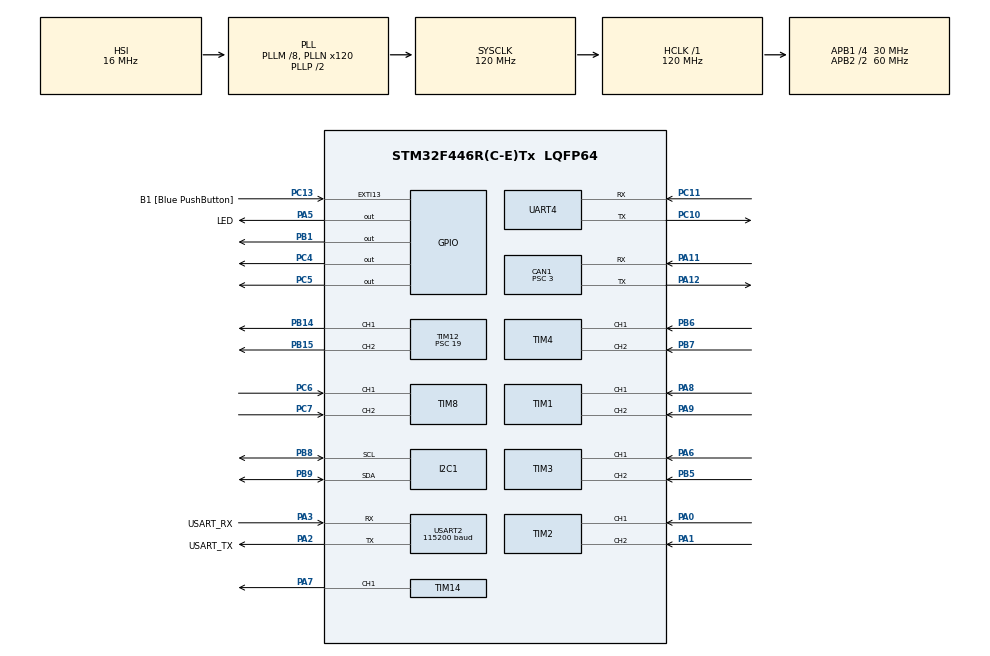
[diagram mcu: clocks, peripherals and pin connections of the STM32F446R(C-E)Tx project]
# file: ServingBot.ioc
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Mcu.Family=STM32F4
NVIC.CAN1_RX1_IRQn=true\:0\:0\:false\:false\:true\:true\:true
PH0-OSC_IN.Signal=RCC_OSC_IN
RCC.CortexFreq_Value=120000000
NVIC.TIM6_DAC_IRQn=true\:0\:0\:false\:false\:true\:true\:true
Dma.USART2_TX.1.MemInc=DMA_MINC_ENABLE
TIM12.Channel-PWM\ Generation2\ CH2=TIM_CHANNEL_2
PC10.Signal=UART4_TX
PA14.GPIO_Label=TCK
TIM4.EncoderMode=TIM_ENCODERMODE_TI12
USART2.Parity=PARITY_NONE
TIM3.EncoderMode=TIM_ENCODERMODE_TI12
TIM1.EncoderMode=TIM_ENCODERMODE_TI12
TIM8.EncoderMode=TIM_ENCODERMODE_TI12
PA11.Mode=CAN_Activate
PC13.GPIO_Label=B1 [Blue PushButton]
PB15.Signal=S_TIM12_CH2
RCC.SYSCLKSource=RCC_SYSCLKSOURCE_PLLCLK
ProjectManager.StackSize=0x400
PA12.Signal=CAN1_TX
Dma.USART2_RX.0.Priority=DMA_PRIORITY_LOW
NVIC.CAN1_TX_IRQn=true\:0\:0\:false\:false\:true\:true\:true
SH.S_TIM14_CH1.0=TIM14_CH1,PWM Generation1 CH1
Dma.USART2_RX.0.PeriphDataAlignment=DMA_PDATAALIGN_BYTE
RCC.HCLKFreq_Value=120000000
RCC.APB2TimFreq_Value=120000000
PB6.Signal=S_TIM4_CH1
PC7.Signal=S_TIM8_CH2
Dma.USART2_TX.1.Mode=DMA_CIRCULAR
RCC.AHBFreq_Value=120000000
PH0-OSC_IN.Mode=HSE-External-Oscillator
RCC.HSE_VALUE=8000000
TIM14.Period=59999
TIM12.Period=59999
Dma.USART2_RX.0.MemDataAlignment=DMA_MDATAALIGN_BYTE
PC14-OSC32_IN.Mode=LSE-External-Oscillator
SH.S_TIM12_CH1.0=TIM12_CH1,PWM Generation1 CH1
PA14.Mode=Serial_Wire
Dma.USART2_TX.1.Instance=DMA1_Stream6
Dma.USART2_RX.0.Instance=DMA1_Stream5
SH.S_TIM4_CH2.0=TIM4_CH2,Encoder_Interface
PB7.Signal=S_TIM4_CH2
PA8.Signal=S_TIM1_CH1
SH.S_TIM3_CH1.0=TIM3_CH1,Encoder_Interface
TIM6.Period=999
RCC.FLatency-AdvancedSettings=FLASH_LATENCY_3
PH1-OSC_OUT.Mode=HSE-External-Oscillator
CAN1.Prescaler=3
Mcu.Package=LQFP64
PB9.Signal=I2C1_SDA
PA6.Signal=S_TIM3_CH1
PB1.Signal=GPIO_Output
Dma.USART2_RX.0.PeriphInc=DMA_PINC_DISABLE
USART2.VirtualMode=VM_ASYNC
Dma.USART2_RX.0.FIFOMode=DMA_FIFOMODE_DISABLE
PA2.GPIO_Label=USART_TX
PC11.Mode=Asynchronous
SH.S_TIM12_CH2.0=TIM12_CH2,PWM Generation2 CH2
RCC.APB2CLKDivider=RCC_HCLK_DIV2
SH.S_TIM4_CH1.0=TIM4_CH1,Encoder_Interface
Dma.Request1=USART2_TX
RCC.APB1TimFreq_Value=60000000
PC5.Signal=GPIO_Output
VP_TIM14_VS_ClockSourceINT.Mode=Enable_Timer
Dma.Request0=USART2_RX
NVIC.DMA1_Stream6_IRQn=true\:0\:0\:false\:false\:true\:false\:true
CAN1.CalculateTimeBit=1000.00
PA3.Signal=USART2_RX
CAN1.CalculateTimeQuantum=100.0
NVIC.UART4_IRQn=true\:0\:0\:false\:false\:true\:true\:true
PB3.GPIO_Label=SWO
PC15-OSC32_OUT.Mode=LSE-External-Oscillator
Dma.USART2_TX.1.Priority=DMA_PRIORITY_LOW
Dma.USART2_TX.1.FIFOMode=DMA_FIFOMODE_DISABLE
PC13.Signal=GPXTI13
PC11.Signal=UART4_RX
CAN1.CalculateBaudRate=1000000
TIM6.Prescaler=11999
PC4.Signal=GPIO_Output
PC6.Signal=S_TIM8_CH1
PC10.Mode=Asynchronous
VP_TIM6_VS_ClockSourceINT.Mode=Enable_Timer
Dma.USART2_RX.0.Direction=DMA_PERIPH_TO_MEMORY
RCC.APB1CLKDivider=RCC_HCLK_DIV4
UART4.VirtualMode=Asynchronous
PC14-OSC32_IN.Signal=RCC_OSC32_IN
Dma.USART2_TX.1.PeriphDataAlignment=DMA_PDATAALIGN_BYTE
NVIC.USART2_IRQn=true\:0\:0\:false\:false\:true\:true\:true
USART2.BaudRate=115200
SH.S_TIM8_CH2.0=TIM8_CH2,Encoder_Interface
PA0-WKUP.Signal=S_TIM2_CH1_ETR
Dma.USART2_RX.0.Mode=DMA_CIRCULAR
PA3.Mode=Asynchronous
PA13.Signal=SYS_JTMS-SWDIO
SH.S_TIM2_CH2.0=TIM2_CH2,Encoder_Interface
SH.S_TIM1_CH1.0=TIM1_CH1,Encoder_Interface
CAN1.BS2=CAN_BS2_2TQ
CAN1.BS1=CAN_BS1_7TQ
ProjectManager.TargetToolchain=STM32CubeIDE
NVIC.DMA1_Stream5_IRQn=true\:0\:0\:false\:false\:true\:false\:true
PB9.Mode=I2C
PA9.Signal=S_TIM1_CH2
RCC.USBFreq_Value=120000000
PC15-OSC32_OUT.Signal=RCC_OSC32_OUT
PA1.Signal=S_TIM2_CH2
TIM12.Prescaler=19
PB14.Signal=S_TIM12_CH1
PA5.Signal=GPIO_Output
SH.S_TIM3_CH2.0=TIM3_CH2,Encoder_Interface
SH.S_TIM8_CH1.0=TIM8_CH1,Encoder_Interface
Dma.USART2_TX.1.PeriphInc=DMA_PINC_DISABLE
board=NUCLEO-F446RE
RCC.VCOOutputFreq_Value=240000000
Dma.USART2_TX.1.Direction=DMA_MEMORY_TO_PERIPH
TIM12.Channel-PWM\ Generation1\ CH1=TIM_CHANNEL_1
RCC.APB2Freq_Value=60000000
TIM14.Channel=TIM_CHANNEL_1
SH.S_TIM1_CH2.0=TIM1_CH2,Encoder_Interface
PH1-OSC_OUT.Signal=RCC_OSC_OUT
PA13.Mode=Serial_Wire
Mcu.Name=STM32F446R(C-E)Tx
Dma.USART2_RX.0.MemInc=DMA_MINC_ENABLE
TIM14.Prescaler=19
PA2.Signal=USART2_TX
PA13.GPIO_Label=TMS
RCC.48MHZClocksFreq_Value=84000000
PB3.Signal=SYS_JTDO-SWO
RCC.SYSCLKFreq_VALUE=120000000
PB5.Signal=S_TIM3_CH2
PA12.Mode=CAN_Activate
PA5.GPIO_Label=LED
PC13.GPIO_ModeDefaultEXTI=GPIO_MODE_IT_FALLING
PA11.Signal=CAN1_RX
SH.S_TIM2_CH1_ETR.0=TIM2_CH1,Encoder_Interface
PA14.Signal=SYS_JTCK-SWCLK
ProjectManager.HeapSize=0x200
RCC.HSI_VALUE=16000000
NVIC.PriorityGroup=NVIC_PRIORITYGROUP_0
RCC.PLLM=8
PB8.Mode=I2C
RCC.PLLN=120
PA2.Mode=Asynchronous
PB8.Signal=I2C1_SCL
Dma.USART2_TX.1.MemDataAlignment=DMA_MDATAALIGN_BYTE
RCC.APB1Freq_Value=30000000
NVIC.CAN1_RX0_IRQn=true\:0\:0\:false\:false\:true\:true\:true
PA3.GPIO_Label=USART_RX
PA7.Signal=S_TIM14_CH1

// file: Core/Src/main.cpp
/* USER CODE BEGIN Header */
/**
  ******************************************************************************
  * @file           : main.c
  * @brief          : Main program body
  ******************************************************************************
  * @attention
  *
  * <h2><center>&copy; Copyright (c) 2021 STMicroelectronics.
  * All rights reserved.</center></h2>
  *
  * This software component is licensed by ST under BSD 3-Clause license,
  * the "License"; You may not use this file except in compliance with the
  * License. You may obtain a copy of the License at:
  *                        opensource.org/licenses/BSD-3-Clause
  *
  ******************************************************************************
  */
/* USER CODE END Header */
#include "main.h"
#include "can.h"
#include "dma.h"
#include "i2c.h"
#include "tim.h"
#include "usart.h"
#include "gpio.h"

/* USER CODE BEGIN Includes */
#include "stdbool.h"
#include "Encoder.h"
#include "PID.h"
#include "Serial.h"
#include "CommonMath.h"
#include "stdio.h"
#include "string.h"
#include <math.h>

#include "MotorController.h"

/* USER CODE END Includes */

/* USER CODE BEGIN PD */
// プロトタイプ宣言

// @brief	: 各車輪のデューティ比を設定する
int SetDuty(float p_duty_front, float p_duty_left, float p_duty_right);

// @brief	: 1byteを上位8bitと下位8bitに変換する
void ConvertByte2HighLowBit(int p_byte, int* p_low_bit, int* p_high_bit);
// @brief	: CAN1で送信する
int CAN1Transmit(uint32_t p_target_can_id, uint8_t p_tx_data[8]);

// @brief : CAN通信のフィルタ設定をする
void CAN_FilterInit(void);

/* USER CODE END PD */

/* USER CODE BEGIN PV */
bool g_is_up_control_cycle = false;
char g_received_char;
int k=0;
string uart_str;
//Serial serial;
int indexRead = 0;
// CAN
/*
uint32_t id;
uint32_t dlc;
uint8_t id517_readed_can_data[8];
uint8_t id518_readed_can_data[8];
uint8_t id519_readed_can_data[8];
int cnt = 0;
int id_1_cnt = 0;
int id_2_cnt = 0;
int id_3_cnt = 0;
*/
/* USER CODE END PV */

void SystemClock_Config(void);

int main(void)
{

  /* MCU Configuration--------------------------------------------------------*/

  /* Reset of all peripherals, Initializes the Flash interface and the Systick. */
  HAL_Init();

  /* Configure the system clock */
  SystemClock_Config();

  /* Initialize all configured peripherals */
  MX_GPIO_Init();
  MX_DMA_Init();
  MX_USART2_UART_Init();
  MX_TIM1_Init();
  MX_TIM12_Init();
  MX_TIM6_Init();
  MX_TIM2_Init();
  MX_TIM3_Init();
  MX_I2C1_Init();
  MX_TIM4_Init();
  MX_TIM8_Init();
  MX_UART4_Init();
  MX_TIM14_Init();
  MX_CAN1_Init();
  /* USER CODE BEGIN 2 */

  string  msg;

  // Encoder
  Encoder encoder;
  encoder.SetDriveEncoderPPR(14);
  encoder.SetDriveWheelDiameter(0.08);
  encoder.SetGearRatio(1.0/24.9);

  MotorController motor_controller;

  HAL_Delay(100);

  // シリアル通信
  // DWA受信
  //HAL_UART_Receive_DMA(&huart2,serialData,DATANUM);
  Serial serial;
  // rplidarが遅延するの暫定対策
  int serial_count = 0;

  // CAN
  // CANのフィルタ設定
  CAN_FilterInit();
  HAL_CAN_Start(&hcan1);

  // 割り込み有効
  if (HAL_CAN_ActivateNotification(&hcan1, CAN_IT_RX_FIFO0_MSG_PENDING) != HAL_OK)
  {
    msg = "CAN Setting Error ....... \r\n";
    HAL_UART_Transmit( &huart2, (uint8_t *)msg.c_str(), msg.size(), 0xFFFF);
    Error_Handler();
  }
  //msg = "CAN Setting End\r\n";
  //HAL_UART_Transmit( &huart2, (uint8_t *)msg.c_str(), msg.size(), 0xFFFF);

  // Timer Interrupt
  HAL_TIM_Base_Start_IT(&htim6);

  HAL_UART_Transmit( &huart2, (uint8_t *)"start!\n", 7, 0xFFFF);

  /* USER CODE END 2 */

  /* Infinite loop */
  /* USER CODE BEGIN WHILE */

  // エンコーダの初期値を初期化する
  InitEncoder();

  while (1)
  {
    /* USER CODE END WHILE */

    /* USER CODE BEGIN 3 */
	 // 10ms circle process
    if(g_is_up_control_cycle == true)
    {
      g_is_up_control_cycle = false;

      // < Encoder >
       encoder.Update();

      // 自己位置を取得する
      struct_posture_t pos = encoder.GetPositions();

      // シリアルの速度指令値を取得する
      serial.Update();

      string serial_str;

      // 速度指令値を取得する
      vector<float> target_speed_control_local_values = serial.GetSpeedControlValues(); // ロボット座標系

      //char msgc[50];
      //sprintf(msgc, "%f %f %f \r\n", target_speed_control_local_values[0], accelerated_command_values[0], speed_control_local_values[0]);
      //HAL_UART_Transmit( &huart2, (uint8_t *)msgc, strlen(msgc) + 1, 0xFFFF);
      //HAL_UART_Transmit( &huart2, (uint8_t *)"hello", 10, 0xFFFF);

      // < 速度指令値をロボット座標系からマップ座標系に変換する >
      vector<float> speed_control_global_values(3, 0); // マップ座標系

      // 変換する場合
      //Rotation(speed_control_local_values[0], speed_control_local_values[1], pos.angle, &speed_control_global_values[0], &speed_control_global_values[1]);
      //speed_control_global_values[2] = speed_control_local_values[2];

      // 変換しない場合
      speed_control_global_values[0] = speed_control_local_values[0];
      speed_control_global_values[1] = speed_control_local_values[1];
      speed_control_global_values[2] = speed_control_local_values[2];
    }

  }
  /* USER CODE END 3 */
}

void SystemClock_Config(void)
{
  RCC_OscInitTypeDef RCC_OscInitStruct = {0};
  RCC_ClkInitTypeDef RCC_ClkInitStruct = {0};

  /** Configure the main internal regulator output voltage
  */
  __HAL_RCC_PWR_CLK_ENABLE();
  __HAL_PWR_VOLTAGESCALING_CONFIG(PWR_REGULATOR_VOLTAGE_SCALE3);
  /** Initializes the RCC Oscillators according to the specified parameters
  * in the RCC_OscInitTypeDef structure.
  */
  RCC_OscInitStruct.OscillatorType = RCC_OSCILLATORTYPE_HSI;
  RCC_OscInitStruct.HSIState = RCC_HSI_ON;
  RCC_OscInitStruct.HSICalibrationValue = RCC_HSICALIBRATION_DEFAULT;
  RCC_OscInitStruct.PLL.PLLState = RCC_PLL_ON;
  RCC_OscInitStruct.PLL.PLLSource = RCC_PLLSOURCE_HSI;
  RCC_OscInitStruct.PLL.PLLM = 8;
  RCC_OscInitStruct.PLL.PLLN = 120;
  RCC_OscInitStruct.PLL.PLLP = RCC_PLLP_DIV2;
  RCC_OscInitStruct.PLL.PLLQ = 2;
  RCC_OscInitStruct.PLL.PLLR = 2;
  if (HAL_RCC_OscConfig(&RCC_OscInitStruct) != HAL_OK)
  {
    Error_Handler();
  }
  /** Initializes the CPU, AHB and APB buses clocks
  */
  RCC_ClkInitStruct.ClockType = RCC_CLOCKTYPE_HCLK|RCC_CLOCKTYPE_SYSCLK
                              |RCC_CLOCKTYPE_PCLK1|RCC_CLOCKTYPE_PCLK2;
  RCC_ClkInitStruct.SYSCLKSource = RCC_SYSCLKSOURCE_PLLCLK;
  RCC_ClkInitStruct.AHBCLKDivider = RCC_SYSCLK_DIV1;
  RCC_ClkInitStruct.APB1CLKDivider = RCC_HCLK_DIV4;
  RCC_ClkInitStruct.APB2CLKDivider = RCC_HCLK_DIV2;

  if (HAL_RCC_ClockConfig(&RCC_ClkInitStruct, FLASH_LATENCY_3) != HAL_OK)
  {
    Error_Handler();
  }
}

/* USER CODE BEGIN 4 */

void HAL_TIM_PeriodElapsedCallback(TIM_HandleTypeDef *htim)
{
	g_is_up_control_cycle = true;
	//if (htim == &htim6)
	//{
		//HAL_GPIO_WritePin(GPIOA, GPIO_PIN_5, a%2);
	//}
}

void HAL_UART_RxCpltCallback(UART_HandleTypeDef *huart)
{
	if(huart->Instance != USART2)
	{
		return;
	}
	HAL_UART_Receive_IT(&huart2, (uint8_t*) &g_received_char, 1);
}

void CAN_FilterInit(void)
{
	CAN_FilterTypeDef filter;
	filter.FilterIdHigh         = 0;                        // フィルターID(上位16ビット)
	filter.FilterIdLow          = 0;                        // フィルターID(下位16ビット)
	filter.FilterMaskIdHigh     = 0;                        // フィルターマスク(上位16ビット)
	filter.FilterMaskIdLow      = 0;                        // フィルターマスク(下位16ビット)
	filter.FilterScale          = CAN_FILTERSCALE_32BIT;    // フィルタースケール
	filter.FilterFIFOAssignment = CAN_FILTER_FIFO0;         // フィルターに割り当てるFIFO
	filter.FilterBank           = 0;                        // フィルターバンクNo
	filter.FilterMode           = CAN_FILTERMODE_IDMASK;    // フィルターモード
	filter.SlaveStartFilterBank = 14;                       // スレーブCANの開始フィルターバンクNo
	filter.FilterActivation     = ENABLE;                   // フィルター無効／有効
	if (HAL_CAN_ConfigFilter(&hcan1, &filter) != HAL_OK)
	{
		Error_Handler();
	}
}

//---------------------------------------------------------------------------------------------------------------------
// @brief	: 各車輪のデューティ比を設定する
// @date	: 2021/05/2
//
// @param1[in]		: 前車輪のデューティ比(-1.0 ~ 1.0)
// @param1[in]		: 左車輪のデューティ比(-1.0 ~ 1.0)
// @param1[in]		: 右車輪のデューティ比(-1.0 ~ 1.0)
// @return			: 成功判定
//---------------------------------------------------------------------------------------------------------------------
int SetDuty(float p_duty_front, float p_duty_left, float p_duty_right)
{
	// -1.0 ~ 1.0 の間でクリッピングする
	p_duty_front = Clipping(p_duty_front, -1.0, 1.0);
	p_duty_left   = Clipping(p_duty_left,    -1.0, 1.0);
	p_duty_right = Clipping(p_duty_right, -1.0, 1.0);

	// 送信するコマンドが-30,000 ~ 30,000の範囲なので変換する
	int volutage_command_value_front = int(p_duty_front * 30000.0);
	int volutage_command_value_left   = int(p_duty_left    * 30000.0);
	int volutage_command_value_right = int(p_duty_right * 30000.0);
	// 正の値で正転するように負の値をかける
	volutage_command_value_front *=  -1;
	volutage_command_value_left   *= -1;
	volutage_command_value_right *= -1;

	// 1byteを上位8bitと下位8bitに変換する
	int command_low_bit_front,	command_high_bit_front;
	int command_low_bit_left,		command_high_bit_left;
	int command_low_bit_right,	command_high_bit_right;

	ConvertByte2HighLowBit(volutage_command_value_front, &command_low_bit_front, &command_high_bit_front);
	ConvertByte2HighLowBit(volutage_command_value_left,   &command_low_bit_left,    &command_high_bit_left);
	ConvertByte2HighLowBit(volutage_command_value_right, &command_low_bit_right, &command_high_bit_right);

	// 送信データを整列する
	uint8_t tx_data[8];
	tx_data[0] = command_high_bit_front;
	tx_data[1] = command_low_bit_front;
	tx_data[2] = command_high_bit_left;
	tx_data[3] = command_low_bit_left;
	tx_data[4] = 0xff;
	tx_data[5] = 0xff;
	tx_data[6] = command_high_bit_right;
	tx_data[7] = command_low_bit_right;

	// CAN ID
	uint32_t target_can_id = 0x1ff;

	// 送信する
	CAN1Transmit(target_can_id, tx_data);

}

//---------------------------------------------------------------------------------------------------------------------
// @brief	: 1byteを上位8bitと下位8bitに変換する
// @date	: 2021/04/29
//
// @param1[in]		: 変換したい1byte分の数値
// @param2[out]	: 変換後の下位8bit
// @param3[out]	: 変換したい1byte分の数値
// @return			: なし
//---------------------------------------------------------------------------------------------------------------------
void ConvertByte2HighLowBit(int p_byte, int* p_low_bit, int* p_high_bit)
{
	int low_bit  = p_byte & 0b0000000011111111;
	int high_bit = p_byte & 0b1111111100000000;
	high_bit = high_bit >> 8;

	*p_low_bit  = low_bit;
	*p_high_bit = high_bit;
}

//---------------------------------------------------------------------------------------------------------------------
// @brief	: CAN1で送信する(データ長は8byte)
// @date	: 2021/04/29
//
// @param1[in]	: 速度指令値(-1.0 ~ 1.0)
// @return			: 成功判定
//---------------------------------------------------------------------------------------------------------------------
int CAN1Transmit(uint32_t p_target_can_id, uint8_t p_tx_data[8])
{
	  CAN_TxHeaderTypeDef TxHeader;
	  uint32_t TxMailbox;
	  //uint8_t TxData[8];

	  int res = 0;

	  if(0 < HAL_CAN_GetTxMailboxesFreeLevel(&hcan1))
	  {
		  //HAL_UART_Transmit( &huart2, (uint8_t*)"IN \r\n", 13, 0xFFFF);

		  //TxHeader.StdId = 0x1ff;                 // CAN ID
		  TxHeader.StdId = p_target_can_id;                 // CAN ID
		  TxHeader.RTR = CAN_RTR_DATA;            // フレームタイプはデータフレーム
	      TxHeader.IDE = CAN_ID_STD;              // 標準ID(11ﾋﾞｯﾄ)
	      TxHeader.DLC = 8;                       // データ長は8バイトに
	      TxHeader.TransmitGlobalTime = DISABLE;  // ???

	      /*
	      TxData[0] = 0x3A;
	      TxData[1] = 0x98;
	      TxData[2] = 0x75;
	      TxData[3] = 0x30;
	      TxData[4] = 0xff;
	      TxData[5] = 0xff;
	      TxData[6] = 0x8A;
	      TxData[7] = 0xD0;
	      */

	      res = HAL_CAN_AddTxMessage(&hcan1, &TxHeader, p_tx_data, &TxMailbox);
	      if(res != HAL_OK)
	      {
	    	  HAL_UART_Transmit( &huart2, (uint8_t*)"tx error   \r\n", 13, 0xFFFF);
	    	  Error_Handler();
	      }
	  }
	  else
	  {
		  HAL_UART_Transmit( &huart2, (uint8_t*)"box full \r\n", 13, 0xFFFF);
	  }

}

/* USER CODE END 4 */

void Error_Handler(void)
{
  /* USER CODE BEGIN Error_Handler_Debug */
  /* User can add his own implementation to report the HAL error return state */
  __disable_irq();
  while (1)
  {
      char msg[40];
	  sprintf(msg, "Error Handler IN\r\n");
      HAL_UART_Transmit( &huart2, (uint8_t *)msg, strlen(msg) + 1, 0xFFFF);
  }
  /* USER CODE END Error_Handler_Debug */
}

/************************ (C) COPYRIGHT STMicroelectronics *****END OF FILE****/
